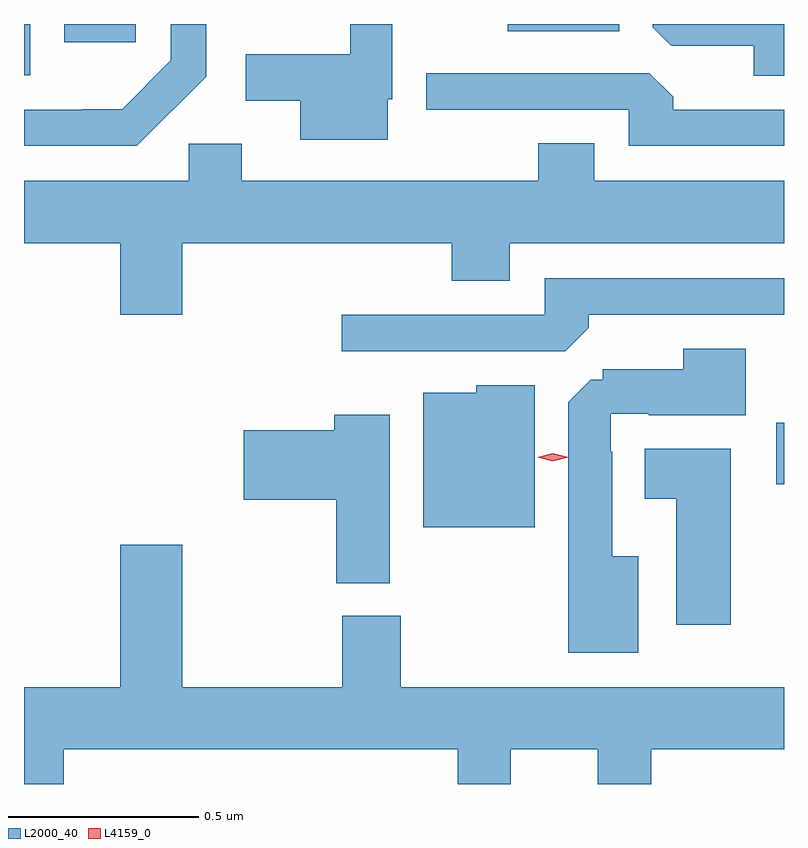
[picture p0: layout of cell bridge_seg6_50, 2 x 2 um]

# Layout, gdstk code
import gdstk
lib = gdstk.Library(unit=1e-6, precision=1e-09)
def R(c, l, rs):  # rectangles x0, y0, x1, y1
    for r in rs: c.add(gdstk.rectangle(r[:2], r[2:], *l))
def P(c, l, *ps):  # polygons
    for p in ps: c.add(gdstk.Polygon(p, *l))
L2000_40 = (2000, 40)
L4159_0 = (4159, 0)

bridge_seg6_50 = lib.new_cell('bridge_seg6_50')
R(bridge_seg6_50, L2000_40, [(1077.822,986.662,1077.843,986.824), (1075.843,987.738,1075.86,987.873), (1075.949,987.825,1076.137,987.873), (1077.116,987.854,1077.409,987.873)])
P(bridge_seg6_50, L2000_40, [(1076.322,987.734),(1076.322,987.873),(1076.229,987.873),(1076.229,987.777),(1076.101,987.649),(1075.997,987.649),(1075.997,987.648),(1075.843,987.648),(1075.843,987.552),(1076.14,987.552)],
  [(1076.8,987.675),(1076.812,987.675),(1076.812,987.873),(1076.702,987.873),(1076.702,987.793),(1076.427,987.793),(1076.427,987.671),(1076.57,987.671),(1076.57,987.569),(1076.8,987.569)],
  [(1077.843,987.873),(1077.497,987.873),(1077.497,987.865),(1077.546,987.816),(1077.764,987.816),(1077.764,987.737),(1077.843,987.737)],
  [(1077.843,987.648),(1077.551,987.648),(1077.551,987.682),(1077.489,987.744),(1076.901,987.744),(1076.901,987.648),(1077.435,987.648),(1077.435,987.552),(1077.843,987.552)],
  [(1076.26,987.296),(1076.969,987.296),(1076.969,987.197),(1077.121,987.197),(1077.121,987.296),(1077.843,987.296),(1077.843,987.46),(1077.343,987.46),(1077.343,987.559),(1077.196,987.559),(1077.196,987.46),(1076.416,987.46),(1076.416,987.558),(1076.277,987.558),(1076.277,987.46),(1075.843,987.46),(1075.843,987.296),(1076.096,987.296),(1076.096,987.108),(1076.26,987.108)],
  [(1077.329,987.074),(1077.329,987.108),(1077.843,987.108),(1077.843,987.204),(1077.213,987.204),(1077.213,987.108),(1076.679,987.108),(1076.679,987.012),(1077.267,987.012)],
  [(1077.46,986.473),(1077.391,986.473),(1077.391,986.747),(1077.387,986.747),(1077.387,986.847),(1077.487,986.847),(1077.487,986.843),(1077.742,986.843),(1077.742,987.019),(1077.578,987.019),(1077.578,986.965),(1077.366,986.965),(1077.366,986.937),(1077.335,986.937),(1077.275,986.877),(1077.275,986.219),(1077.46,986.219)],
  [(1077.187,986.923),(1077.033,986.923),(1077.033,986.902),(1076.894,986.902),(1076.894,986.549),(1077.187,986.549)],
  [(1076.806,986.845),(1076.66,986.845),(1076.66,986.804),(1076.421,986.804),(1076.421,986.621),(1076.665,986.621),(1076.665,986.401),(1076.806,986.401)],
  [(1077.703,986.755),(1077.476,986.755),(1077.476,986.624),(1077.56,986.624),(1077.56,986.292),(1077.703,986.292)],
  [(1075.947,985.964),(1076.984,985.964),(1076.984,985.873),(1077.124,985.873),(1077.124,985.964),(1077.353,985.964),(1077.353,985.873),(1077.493,985.873),(1077.493,985.964),(1077.843,985.964),(1077.843,986.128),(1076.835,986.128),(1076.835,986.316),(1076.68,986.316),(1076.68,986.128),(1076.26,986.128),(1076.26,986.503),(1076.096,986.503),(1076.096,986.128),(1075.843,986.128),(1075.843,985.873),(1075.947,985.873)])
P(bridge_seg6_50, L4159_0, [(1077.235,986.723),(1077.194,986.733),(1077.194,986.733),(1077.194,986.733),(1077.235,986.743),(1077.276,986.733),(1077.276,986.733),(1077.276,986.733)])

lib.write_gds('bridge_seg6_50.gds')
